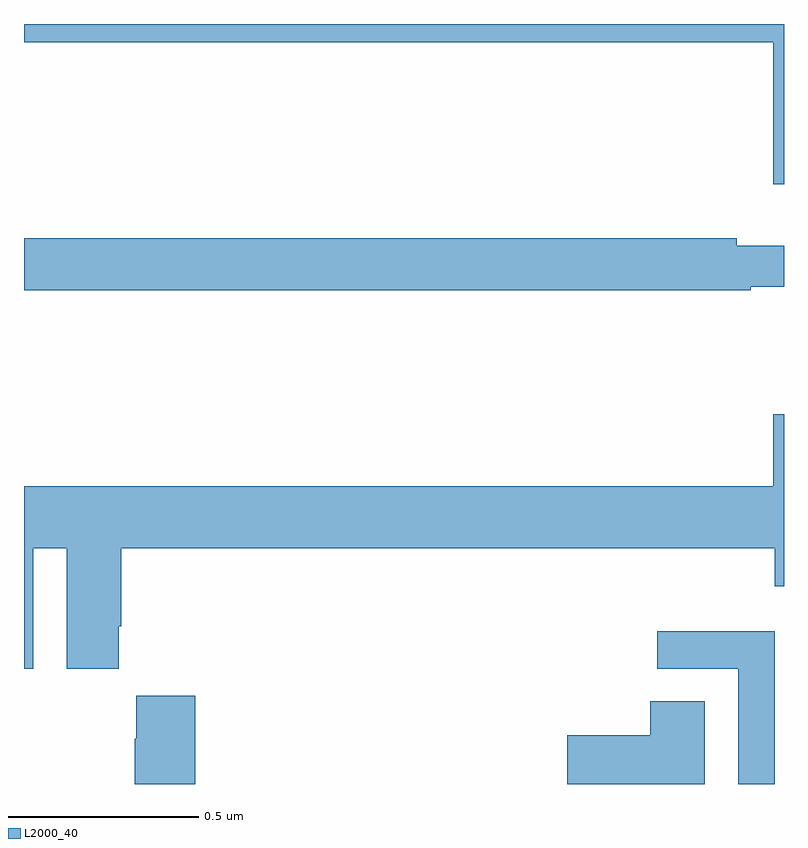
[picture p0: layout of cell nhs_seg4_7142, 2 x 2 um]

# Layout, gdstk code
import gdstk
lib = gdstk.Library(unit=1e-6, precision=1e-09)
def P(c, l, *ps):  # polygons
    for p in ps: c.add(gdstk.Polygon(p, *l))
L2000_40 = (2000, 40)

nhs_seg4_7142 = lib.new_cell('nhs_seg4_7142')
P(nhs_seg4_7142, L2000_40, [(201,764.9),(199,764.9),(199,764.852),(200.972,764.852),(200.972,764.478),(201,764.478)],
  [(200.912,764.208),(201,764.208),(201,764.317),(200.876,764.317),(200.876,764.336),(199,764.336),(199,764.2),(200.912,764.2)],
  [(199.024,763.52),(199.112,763.52),(199.112,763.203),(199.249,763.203),(199.249,763.315),(199.256,763.315),(199.256,763.52),(200.975,763.52),(200.975,763.421),(201,763.421),(201,763.873),(200.972,763.873),(200.972,763.684),(199,763.684),(199,763.203),(199.024,763.203)],
  [(200.976,763.302),(200.667,763.302),(200.667,763.203),(200.88,763.203),(200.88,762.9),(200.976,762.9)],
  [(199.451,763.132),(199.295,763.132),(199.295,763.019),(199.291,763.019),(199.291,762.9),(199.451,762.9)],
  [(200.791,763.118),(200.648,763.118),(200.648,763.028),(200.43,763.028),(200.43,762.9),(200.791,762.9)])

lib.write_gds('nhs_seg4_7142.gds')
